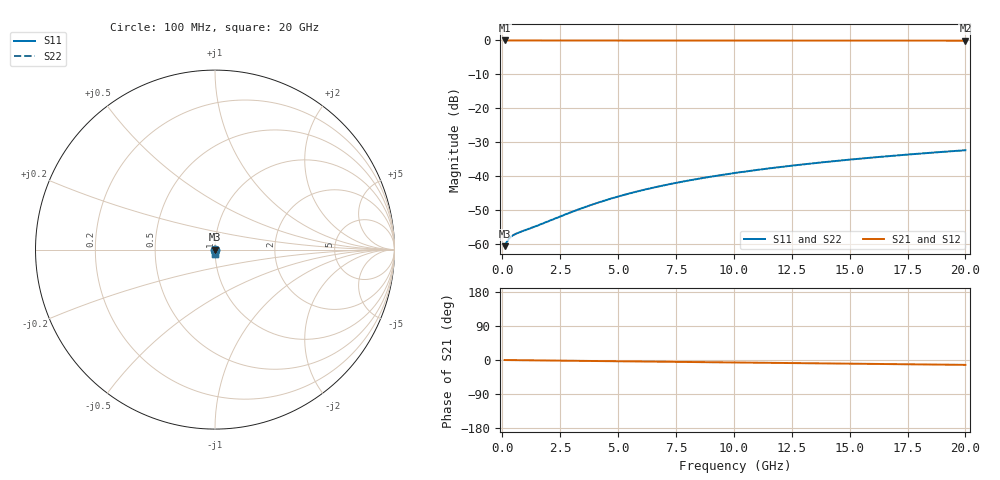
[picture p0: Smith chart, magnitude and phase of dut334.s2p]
! Touchstone file exported from HFSS 2026.1.0
!  File:  C:/ffzhzh/LocalFiles/Ansys_Project_Files/temp_train_BSMRDL_334_1783011052_51716.aedt
!  Generated:  12:52:10 AM Jul  3, 2026
!  Design:  BSMRDL
!  Project:  temp_train_BSMRDL_334_1783011052_51716
! Variables:
!  h_bsmrdl = 4.86um
!  h_ox = 20um
!  h_rdl = 5um
!  h_sub = 80um
!  h_tmrdl = 5um
!  h_tsv = 80um
!  h_via = 3um
!  l_bsmrdl = 221.86um
!  l_sub = 621.86um
!  l_tmrdl = 200um
!  m_sub = 200um
!  pitch = 26.44um
!  r_tsv = 6um
!  s_tmrdl = 10um
!  w_bsmrdl = 22.75um
!  w_sub = 500um
!  w_tmrdl = 12um
!  x_tsv_center1 = 206um
!  x_tsv_center2 = 450.61um
!  x_tsv_center3 = 662.61um
!  x_tsv_center4 = 907.22um
!  x_tsv_center5 = 1119.22um
!  x_tsv_center6 = 1363.83um
# GHz S MA R 50.000000
! Terminal data exported
! Port[1] = BSM_RDL1_1_T1
! Port[2] = BSM_RDL1_1_T2
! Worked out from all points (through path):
!   200 points, 100 MHz to 20 GHz, reference 50 ohm
!   highest |S21| = -0.01 dB at 100 MHz (marker M1); lowest = -0.1 dB at 20 GHz (marker M2)
!   group delay of S21, straight-line fit = 1.78 ps
!   lowest |S11| = -60.6 dB at 100 MHz (marker M3), VSWR 1.00, Z = 50.1 + j0.0153 ohm
!   |S11| at or under -10 dB: start of sweep to end of sweep
!   |S22| runs from -60.6 to -32.3 dB; largest |S21 - S12| = 4.6e-15
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0.1  0.0009347 9.4  0.9991 -0.1  0.9991 -0.1  0.0009347 9.4
! Gamma 0 0 0 0
! Port Impedance 50 0 50 0
0.2  0.001089 10.8  0.9989 -0.2  0.9989 -0.2  0.001089 10.8
0.3  0.001217 8.1  0.9988 -0.2  0.9988 -0.2  0.001217 8.1
0.4  0.001308 4.4  0.9987 -0.3  0.9987 -0.3  0.001308 4.4
0.5  0.001375 0.8  0.9986 -0.4  0.9986 -0.4  0.001375 0.8
0.6  0.001429 -2.6  0.9986 -0.4  0.9986 -0.4  0.001429 -2.6
1.5  0.001867 -23.2  0.9983 -1.0  0.9983 -1.0  0.001867 -23.2
2.9  0.002893 -39.8  0.9977 -2.0  0.9977 -2.0  0.002893 -39.8
3.5  0.003448 -44.4  0.9974 -2.3  0.9974 -2.3  0.003448 -44.4
4.3  0.004262 -49.4  0.9971 -2.9  0.9971 -2.9  0.004262 -49.4
5.1  0.005139 -53.5  0.9967 -3.4  0.9967 -3.4  0.005139 -53.5
5.9  0.00606 -57.0  0.9963 -3.9  0.9963 -3.9  0.00606 -57.0
6.8  0.007133 -60.4  0.996 -4.5  0.996 -4.5  0.007133 -60.4
7.6  0.00811 -63.0  0.9957 -5.0  0.9957 -5.0  0.00811 -63.0
8.4  0.009101 -65.4  0.9954 -5.5  0.9954 -5.5  0.009101 -65.4
9.2  0.0101 -67.5  0.9951 -6.0  0.9951 -6.0  0.0101 -67.5
10.1  0.01124 -69.7  0.9948 -6.6  0.9948 -6.6  0.01124 -69.7
11.7  0.01329 -73.0  0.9944 -7.6  0.9944 -7.6  0.01329 -73.0
13.4  0.01549 -76.0  0.9939 -8.7  0.9939 -8.7  0.01549 -76.0
15  0.01758 -78.5  0.9935 -9.7  0.9935 -9.7  0.01757 -78.5
16.7  0.01981 -80.9  0.993 -10.8  0.993 -10.8  0.01981 -80.9
20  0.02417 -85.0  0.9922 -12.9  0.9922 -12.9  0.02417 -85.0
